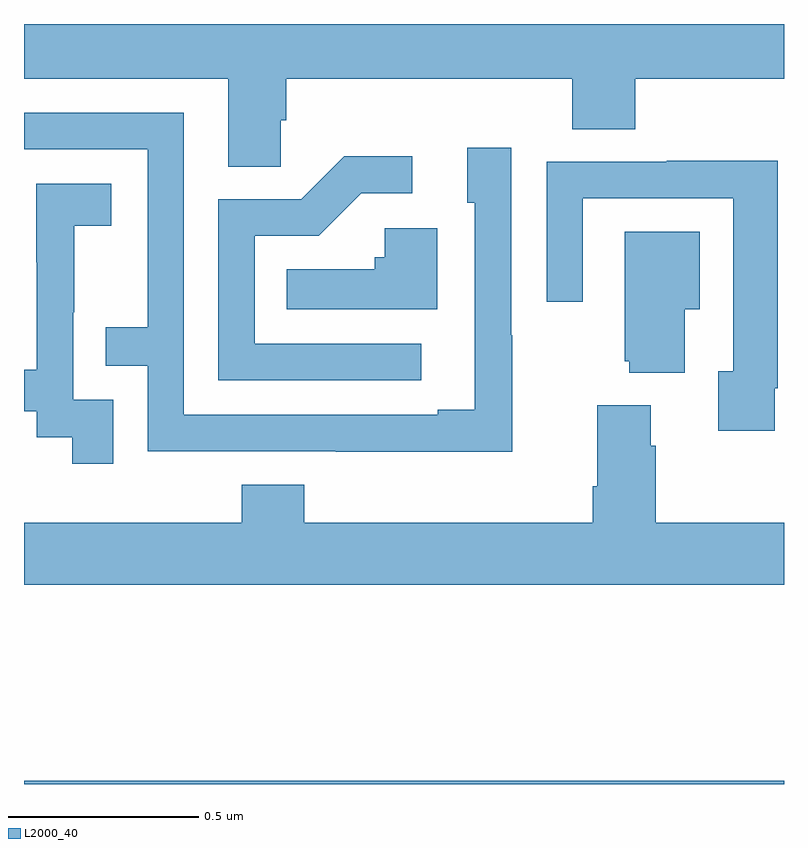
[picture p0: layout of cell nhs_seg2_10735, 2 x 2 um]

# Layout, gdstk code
import gdstk
lib = gdstk.Library(unit=1e-6, precision=1e-09)
def R(c, l, rs):  # rectangles x0, y0, x1, y1
    for r in rs: c.add(gdstk.rectangle(r[:2], r[2:], *l))
def P(c, l, *ps):  # polygons
    for p in ps: c.add(gdstk.Polygon(p, *l))
L2000_40 = (2000, 40)

nhs_seg2_10735 = lib.new_cell('nhs_seg2_10735')
R(nhs_seg2_10735, L2000_40, [(245,625.8,247,625.808)])
P(nhs_seg2_10735, L2000_40, [(245.676,627.547),(245.69,627.547),(245.69,627.656),(246.443,627.656),(246.443,627.523),(246.608,627.523),(246.608,627.656),(247,627.656),(247,627.8),(245,627.8),(245,627.656),(245.537,627.656),(245.537,627.424),(245.676,627.424)],
  [(246.285,626.981),(246.282,626.981),(246.282,627.475),(246.167,627.475),(246.167,627.33),(246.186,627.33),(246.186,626.785),(246.089,626.785),(246.089,626.772),(245.421,626.772),(245.421,627.567),(245,627.567),(245,627.471),(245.325,627.471),(245.325,627.002),(245.215,627.002),(245.215,626.901),(245.325,626.901),(245.325,626.676),(245.821,626.676),(245.821,626.675),(246.285,626.675)],
  [(246.046,626.958),(245.607,626.958),(245.607,627.243),(245.776,627.243),(245.887,627.354),(246.022,627.354),(246.022,627.452),(245.843,627.452),(245.73,627.339),(245.511,627.339),(245.511,626.862),(246.046,626.862)],
  [(246.976,626.842),(246.983,626.842),(246.983,627.44),(246.691,627.44),(246.691,627.438),(246.375,627.438),(246.375,627.069),(246.471,627.069),(246.471,627.342),(246.867,627.342),(246.867,626.886),(246.827,626.886),(246.827,626.73),(246.976,626.73)],
  [(245.235,626.811),(245.13,626.811),(245.13,627.041),(245.132,627.041),(245.132,627.269),(245.23,627.269),(245.23,627.379),(245.032,627.379),(245.032,627.173),(245.033,627.173),(245.033,626.89),(245,626.89),(245,626.781),(245.034,626.781),(245.034,626.713),(245.127,626.713),(245.127,626.643),(245.235,626.643)],
  [(246.088,627.262),(245.949,627.262),(245.949,627.186),(245.923,627.186),(245.923,627.154),(245.692,627.154),(245.692,627.05),(246.088,627.05)],
  [(246.739,627.05),(246.778,627.05),(246.778,627.253),(246.581,627.253),(246.581,626.913),(246.593,626.913),(246.593,626.882),(246.739,626.882)],
  [(247,626.488),(246.662,626.488),(246.662,626.69),(246.649,626.69),(246.649,626.797),(246.509,626.797),(246.509,626.584),(246.497,626.584),(246.497,626.488),(245.738,626.488),(245.738,626.587),(245.573,626.587),(245.573,626.488),(245,626.488),(245,626.324),(247,626.324)])

lib.write_gds('nhs_seg2_10735.gds')
